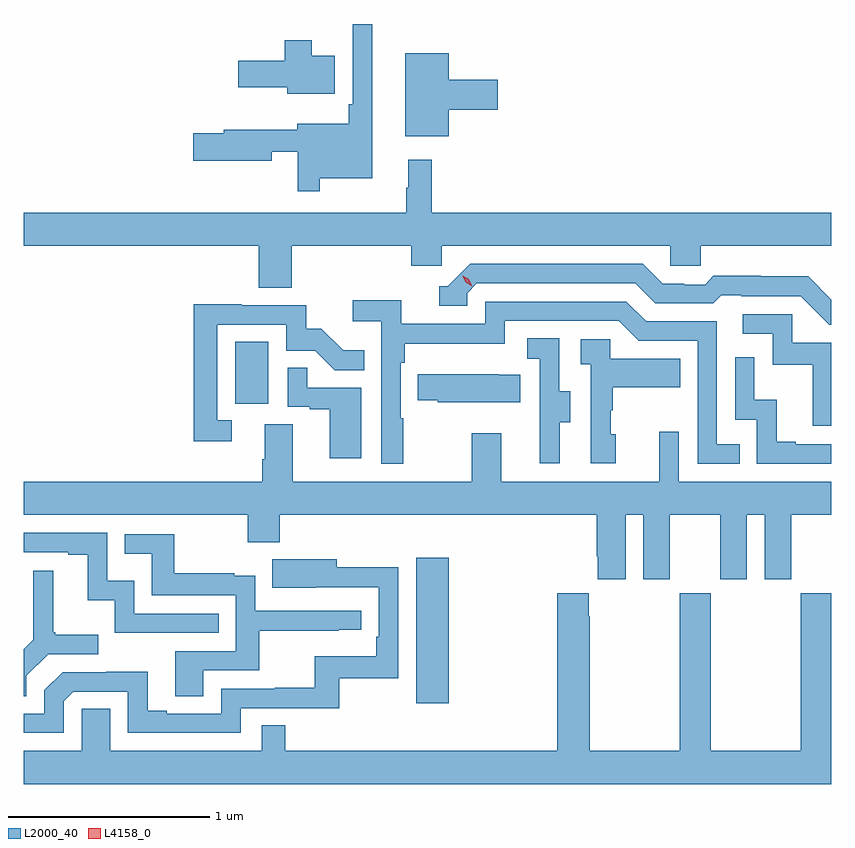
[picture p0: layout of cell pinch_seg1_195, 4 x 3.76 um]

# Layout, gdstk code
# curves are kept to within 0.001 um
import gdstk
lib = gdstk.Library(unit=1e-6, precision=1e-09)
def R(c, l, rs):  # rectangles x0, y0, x1, y1
    for r in rs: c.add(gdstk.rectangle(r[:2], r[2:], *l))
def P(c, l, *ps):  # polygons
    for p in ps: c.add(gdstk.Polygon(p, *l))
L2000_40 = (2000, 40)
L4158_0 = (4158, 0)

pinch_seg1_195 = lib.new_cell('pinch_seg1_195')
R(pinch_seg1_195, L2000_40, [(999.161,573.444,999.322,574.165), (998.264,574.926,998.428,575.233)])
P(pinch_seg1_195, L2000_40, [(998.683,576.044),(998.944,576.044),(998.944,576.807),(998.847,576.807),(998.847,576.409),(998.827,576.409),(998.827,576.313),(998.573,576.313),(998.573,576.284),(998.207,576.284),(998.207,576.266),(998.058,576.266),(998.058,576.131),(998.446,576.131),(998.446,576.174),(998.574,576.174),(998.574,575.979),(998.683,575.979)],
  [(998.758,576.649),(998.644,576.649),(998.644,576.727),(998.51,576.727),(998.51,576.624),(998.28,576.624),(998.28,576.494),(998.522,576.494),(998.522,576.461),(998.758,576.461)],
  [(999.322,576.383),(999.565,576.383),(999.565,576.53),(999.322,576.53),(999.322,576.661),(999.107,576.661),(999.107,576.251),(999.322,576.251)],
  [(998.546,575.708),(999.137,575.708),(999.137,575.61),(999.288,575.61),(999.288,575.708),(1000.419,575.708),(1000.419,575.61),(1000.569,575.61),(1000.569,575.708),(1001.217,575.708),(1001.217,575.872),(999.239,575.872),(999.239,576.136),(999.122,576.136),(999.122,575.996),(999.111,575.996),(999.111,575.872),(997.217,575.872),(997.217,575.708),(998.381,575.708),(998.381,575.5),(998.546,575.5)],
  [(1001.217,575.442),(1001.102,575.557),(1000.866,575.557),(1000.866,575.56),(1000.633,575.56),(1000.591,575.517),(1000.488,575.517),(1000.488,575.52),(1000.381,575.52),(1000.282,575.619),(999.429,575.619),(999.318,575.508),(999.275,575.508),(999.275,575.412),(999.414,575.412),(999.414,575.475),(999.462,575.523),(1000.245,575.523),(1000.344,575.424),(1000.633,575.424),(1000.672,575.463),(1000.771,575.463),(1000.771,575.46),(1001.064,575.46),(1001.205,575.319),(1001.217,575.319)],
  [(999.097,574.856),(999.084,574.856),(999.084,575.129),(999.104,575.129),(999.104,575.225),(999.6,575.225),(999.6,575.337),(1000.164,575.337),(1000.263,575.238),(1000.554,575.238),(1000.554,574.629),(1000.763,574.629),(1000.763,574.725),(1000.65,574.725),(1000.65,575.334),(1000.3,575.334),(1000.201,575.433),(999.504,575.433),(999.504,575.322),(999.086,575.322),(999.086,575.438),(998.847,575.438),(998.847,575.336),(998.988,575.336),(998.988,574.629),(999.097,574.629)],
  [(998.248,574.845),(998.175,574.845),(998.175,575.319),(998.517,575.319),(998.517,575.19),(998.661,575.19),(998.759,575.092),(998.903,575.092),(998.903,575.191),(998.799,575.191),(998.692,575.298),(998.616,575.298),(998.616,575.415),(998.297,575.415),(998.297,575.42),(998.059,575.42),(998.059,574.74),(998.248,574.74)],
  [(1001.217,575.229),(1001.022,575.229),(1001.022,575.37),(1000.779,575.37),(1000.779,575.274),(1000.926,575.274),(1000.926,575.121),(1001.125,575.121),(1001.125,574.818),(1001.217,574.818)],
  [(999.871,574.834),(999.925,574.834),(999.925,574.989),(999.87,574.989),(999.87,575.252),(999.711,575.252),(999.711,575.149),(999.774,575.149),(999.774,574.845),(999.773,574.845),(999.773,574.632),(999.871,574.632)],
  [(1000.15,574.776),(1000.125,574.776),(1000.125,574.895),(1000.135,574.895),(1000.135,575.009),(1000.469,575.009),(1000.469,575.149),(1000.122,575.149),(1000.122,575.247),(999.975,575.247),(999.975,575.123),(1000.026,575.123),(1000.026,574.632),(1000.15,574.632)],
  [(1001.217,574.725),(1001.041,574.725),(1001.041,574.738),(1000.946,574.738),(1000.946,574.946),(1000.836,574.946),(1000.836,575.158),(1000.74,575.158),(1000.74,574.848),(1000.848,574.848),(1000.848,574.629),(1001.217,574.629)],
  [(998.89,575.007),(998.621,575.007),(998.621,575.105),(998.526,575.105),(998.526,574.911),(998.633,574.911),(998.633,574.899),(998.732,574.899),(998.732,574.656),(998.89,574.656)],
  [(999.677,575.071),(999.569,575.071),(999.569,575.074),(999.169,575.074),(999.169,574.945),(999.267,574.945),(999.267,574.934),(999.677,574.934)],
  [(1000.198,574.376),(1000.286,574.376),(1000.286,574.059),(1000.417,574.059),(1000.417,574.376),(1000.667,574.376),(1000.667,574.059),(1000.798,574.059),(1000.798,574.376),(1000.886,574.376),(1000.886,574.059),(1001.017,574.059),(1001.017,574.376),(1001.217,574.376),(1001.217,574.54),(1000.461,574.54),(1000.461,574.789),(1000.364,574.789),(1000.364,574.54),(999.583,574.54),(999.583,574.78),(999.436,574.78),(999.436,574.54),(998.551,574.54),(998.551,574.826),(998.411,574.826),(998.411,574.652),(998.399,574.652),(998.399,574.54),(997.217,574.54),(997.217,574.376),(998.326,574.376),(998.326,574.241),(998.486,574.241),(998.486,574.376),(1000.055,574.376),(1000.055,574.171),(1000.061,574.171),(1000.061,574.059),(1000.198,574.059)],
  [(998.183,573.888),(997.764,573.888),(997.764,574.051),(997.632,574.051),(997.632,574.287),(997.217,574.287),(997.217,574.191),(997.439,574.191),(997.439,574.179),(997.535,574.179),(997.535,573.953),(997.668,573.953),(997.668,573.792),(998.183,573.792)],
  [(998.107,573.606),(998.384,573.606),(998.384,573.802),(998.777,573.802),(998.777,573.807),(998.89,573.807),(998.89,573.903),(998.364,573.903),(998.364,574.075),(998.261,574.075),(998.261,574.087),(997.963,574.087),(997.963,574.281),(997.717,574.281),(997.717,574.184),(997.852,574.184),(997.852,573.978),(998.268,573.978),(998.268,573.702),(997.967,573.702),(997.967,573.478),(998.107,573.478)],
  [(997.416,573.453),(997.464,573.501),(997.734,573.501),(997.734,573.297),(998.292,573.297),(998.292,573.42),(998.779,573.42),(998.779,573.567),(999.072,573.567),(999.072,574.118),(998.767,574.118),(998.767,574.156),(998.449,574.156),(998.449,574.016),(998.976,574.017),(998.976,573.772),(998.963,573.772),(998.963,573.676),(998.658,573.676),(998.658,573.521),(998.461,573.521),(998.461,573.516),(998.196,573.516),(998.196,573.393),(997.927,573.393),(997.927,573.406),(997.831,573.406),(997.831,573.599),(997.626,573.599),(997.626,573.597),(997.41,573.597),(997.32,573.507),(997.32,573.393),(997.217,573.393),(997.217,573.297),(997.416,573.297)],
  [(997.231,573.58),(997.338,573.687),(997.588,573.687),(997.588,573.784),(997.375,573.784),(997.375,573.796),(997.363,573.796),(997.363,574.099),(997.266,574.099),(997.266,573.759),(997.217,573.71),(997.217,573.478),(997.231,573.478)],
  [(1001.217,573.988),(1001.065,573.988),(1001.065,573.208),(1000.62,573.208),(1000.62,573.988),(1000.465,573.988),(1000.465,573.208),(1000.02,573.208),(1000.02,573.875),(1000.015,573.875),(1000.015,573.988),(999.86,573.988),(999.86,573.208),(998.513,573.208),(998.513,573.335),(998.397,573.335),(998.397,573.208),(997.645,573.208),(997.645,573.416),(997.506,573.416),(997.506,573.208),(997.217,573.208),(997.217,573.044),(1001.217,573.044)])
P(pinch_seg1_195, L4158_0, [(999.438,575.509),(999.407,575.528),(999.391,575.561),(999.391,575.561),(999.392,575.561),(999.422,575.542),(999.438,575.509),(999.438,575.509)])

lib.write_gds('pinch_seg1_195.gds')
